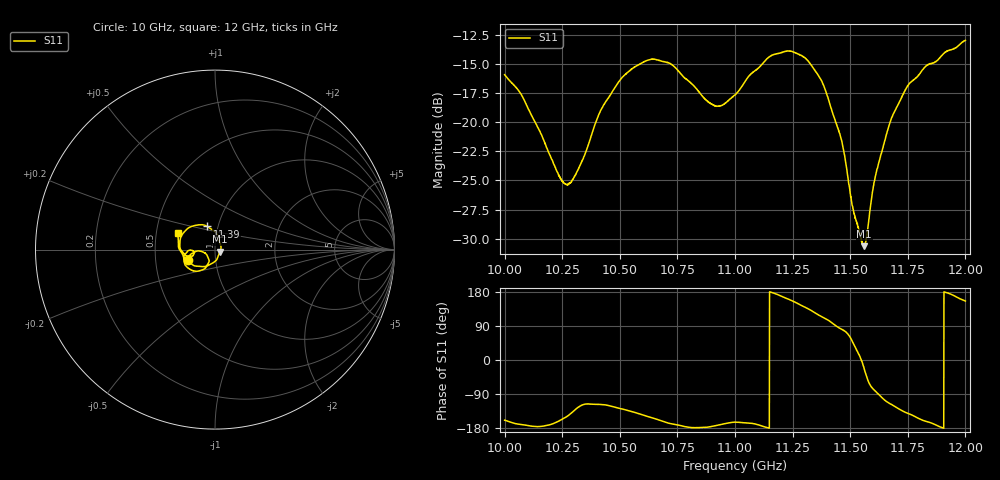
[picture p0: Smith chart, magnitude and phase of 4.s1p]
[Version] 2.0
! Rohde & Schwarz Vector Network Analyzer
! Rohde-Schwarz,ZNL20-2Port,1323001220200009,1.71.1.10-23.02.1.238
! Port Assignments:
! Nominal Port -> Actual Test Port
!  1 -> 1
! Created: GMT 2024-08-27 12:48:06
# Hz S DB R 50
[Number of Ports] 1
! freq[Hz]  S11[mag dB]  S11[ang]
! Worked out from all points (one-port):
!   2001 points, 10 GHz to 12 GHz, reference 50 ohm
!   lowest |S11| = -30.6 dB at 11.56 GHz (marker M1), VSWR 1.06, Z = 52.7 - j1.25 ohm
!   |S11| at or under -10 dB: start of sweep to end of sweep
!   S11 on the Smith chart (normalised r, x): 10 GHz: 0.74, -0.09; 11.39 GHz: 0.89, +0.23; 12 GHz: 0.65, +0.13
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[Number of Frequencies] 28
[Network Data]
1e10  -15.90 -158.9
1.0078e10  -17.82 -170.7
1.025e10  -25.05 -156.3
1.0275e10  -25.35 -146.9
1.0301e10  -24.73 -133.6
1.0347e10  -22.82 -116.6
1.0417e10  -18.96 -117.4
1.05e10  -16.38 -127.8
1.0633e10  -14.59 -151.3
1.075e10  -15.49 -171.3
1.0911e10  -18.57 -173.9
1.1e10  -17.64 -164.2
1.1081e10  -15.65 -167.9
1.1148e10  -14.39 -179.7
1.125e10  -13.92 155.5
1.1316e10  -14.69 135.6
1.1394e10  -17.32 108.7
1.1461e10  -21.48 81.8
1.15e10  -26.12 59.7
1.1546e10  -29.88 2.9
1.1561e10  -30.65 -23.7
1.1572e10  -29.84 -45.1
1.1607e10  -24.87 -80.8
1.1658e10  -20.98 -109.7
1.1686e10  -19.32 -119.7
1.175e10  -16.87 -140.6
1.1909e10  -14.03 179.4
1.2e10  -12.96 155.6
[End]
